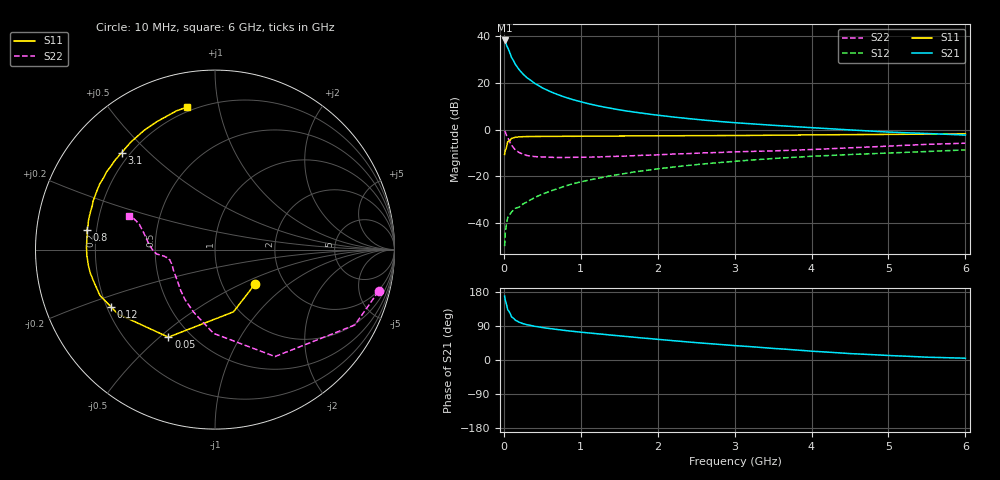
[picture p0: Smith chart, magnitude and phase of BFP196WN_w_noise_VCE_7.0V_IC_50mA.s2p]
! Infineon Technologies  Discrete & RF Semiconductors
! BFP196WN
! VCE =  7.0 V,  IC =  50 mA
! Common Emitter S-Parameters:  Jan 2017
# GHz  S  MA  R  50
!  f  S11  S21  S12  S22
! GHz  MAG  ANG  MAG  ANG  MAG  ANG  MAG  ANG
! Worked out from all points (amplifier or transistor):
!   77 points, 10 MHz to 6 GHz, reference 50 ohm
!   highest |S21| = 38.2 dB at 10 MHz (marker M1)
!   |S21| within 3 dB of that: start of sweep to 48.8 MHz
!   unconditionally stable (mu >= 1): 627.8 MHz to 2.694 GHz
!   at 130 MHz: K = 0.53, MSG = 31.8 dB, |S12| = -34.3 dB
!   at 2.2 GHz: K = 1.02, MAG = 9.8 dB, |S12| = -16.0 dB
!   at 6 GHz: K = 0.90, MSG = 3.2 dB, |S12| = -8.7 dB
!   lowest NFmin = 1.27 dB at 450 MHz
!   S11 on the Smith chart (normalised r, x): 10 MHz: 1.42, -0.60; 50 MHz: 0.38, -0.53; 120 MHz: 0.22, -0.24; 800 MHz: 0.16, +0.07; 3.1 GHz: 0.17, +0.42; 6 GHz: 0.17, +0.81
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0.01  0.2942 -41.0  81.19 168.5  0.0032 82.4  0.9401 -14.3
0.02  0.3618 -73.5  74.98 156.7  0.0066 73.6  0.8852 -28.3
0.05  0.5526 -118.0  56.93 132.7  0.013 55.4  0.6832 -60.7
0.1  0.6486 -146.4  35.22 113.9  0.0172 48.6  0.4665 -91.1
0.12  0.6617 -151.3  31.05 111.0  0.0186 48.3  0.4221 -97.3
0.15  0.6901 -158.3  25 105.0  0.0207 47.9  0.3673 -109.1
0.2  0.6982 -164.9  19.11 99.7  0.022 52.3  0.323 -121.5
0.25  0.7072 -169.4  15.45 95.9  0.0257 54.9  0.2976 -129.9
0.3  0.7109 -172.8  12.96 93.2  0.0282 56.7  0.2794 -136.8
0.4  0.7148 -177.5  9.812 88.9  0.0351 61.2  0.2649 -145.5
0.5  0.7161 179.0  7.865 85.7  0.0415 63.8  0.2598 -151.8
0.6  0.7161 176.1  6.573 82.9  0.0481 65.4  0.2563 -156.4
0.7  0.7167 173.6  5.627 80.4  0.0546 67.0  0.2532 -159.5
0.8  0.7219 171.2  4.932 77.8  0.0623 68.1  0.2536 -161.5
0.9  0.72 169.1  4.377 75.6  0.0694 67.9  0.2556 -163.4
1.1  0.7239 165.3  3.595 71.5  0.0831 68.0  0.2576 -166.6
1.5  0.7307 158.5  2.659 63.8  0.1101 66.8  0.2687 -170.5
2.1  0.7386 148.8  1.952 52.8  0.1512 63.4  0.2944 -173.4
3.1  0.7501 133.9  1.374 36.7  0.2159 55.7  0.3384 -177.9
4.1  0.7741 119.5  1.079 22.1  0.2735 47.4  0.3814 172.3
5.1  0.7932 108.7  0.875 11.0  0.3206 39.9  0.4518 161.1
6  0.8103 100.9  0.766 4.7  0.3685 33.9  0.5131 158.3
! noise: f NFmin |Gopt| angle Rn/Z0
0.45  1.27  0.53  -177  0.05
0.9  1.39  0.56  -171  0.05
1.9  2.33  0.69  -148  0.16
2.4  3.05  0.7  -140  0.28
